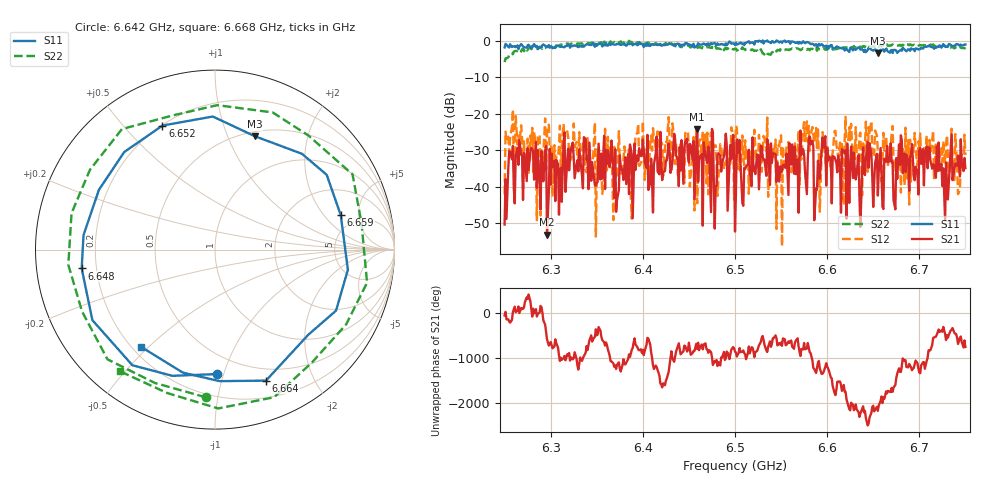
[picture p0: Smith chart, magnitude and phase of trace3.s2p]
# Hz S RI R 50
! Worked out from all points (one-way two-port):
!   401 points, 6.25 GHz to 6.75 GHz, reference 50 ohm
!   highest |S21| = -24.15 dB at 6.459 GHz (marker M1); lowest = -53.1 dB at 6.296 GHz (marker M2)
!   lowest |S11| = -3.5 dB at 6.655 GHz (marker M3), VSWR 5.05, Z = 27.4 + j62.9 ohm
!   |S11| at or under -10 dB: nowhere
!   |S22| runs from -5.9 to -0.1 dB; largest |S21 - S12| = 0.13
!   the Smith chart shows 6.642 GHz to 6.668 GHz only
!   S11 on the Smith chart (normalised r, x): 6.642 GHz: 0.36, -0.95; 6.648 GHz: 0.14, -0.07; 6.652 GHz: 0.20, +0.64; 6.659 GHz: 3.74, +3.03; 6.664 GHz: 0.37, -1.40; 6.668 GHz: 0.23, -0.47
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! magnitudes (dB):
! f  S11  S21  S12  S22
! 6.25 GHz  -1.9  -50.3  -42.1  -5.9
! 6.256 GHz  -1.0  -30.5  -26.3  -3.6
! 6.286 GHz  -2.4  -30.0  -26.3  -1.8
! 6.296 GHz  -1.8  -53.1  -25.2  -1.8
! 6.305 GHz  -2.0  -43.9  -41.2  -1.6
! 6.316 GHz  -1.5  -41.4  -25.4  -1.1
! 6.334 GHz  -1.7  -37.0  -32.5  -0.8
! 6.37 GHz  -1.1  -29.7  -39.9  -0.5
! 6.418 GHz  -1.2  -36.6  -29.7  -1.1
! 6.459 GHz  -1.4  -24.1  -44.5  -1.8
! 6.5 GHz  -1.2  -52.2  -30.9  -2.2
! 6.554 GHz  0.0  -34.0  -35.4  -2.6
! 6.584 GHz  -0.9  -27.4  -23.6  -2.3
! 6.589 GHz  -1.8  -40.8  -29.4  -2.8
! 6.642 GHz  -3.2  -32.2  -22.2  -1.7
! 6.648 GHz  -2.5  -31.2  -22.0  -1.7
! 6.652 GHz  -2.5  -33.5  -24.6  -2.1
! 6.655 GHz  -3.5  -42.4  -30.3  -1.6
! 6.659 GHz  -2.8  -36.3  -38.5  -1.6
! 6.664 GHz  -2.1  -33.1  -26.1  -1.1
! 6.668 GHz  -3.3  -32.8  -29.3  -1.3
! 6.75 GHz  -1.1  -34.9  -31.3  -2.3
